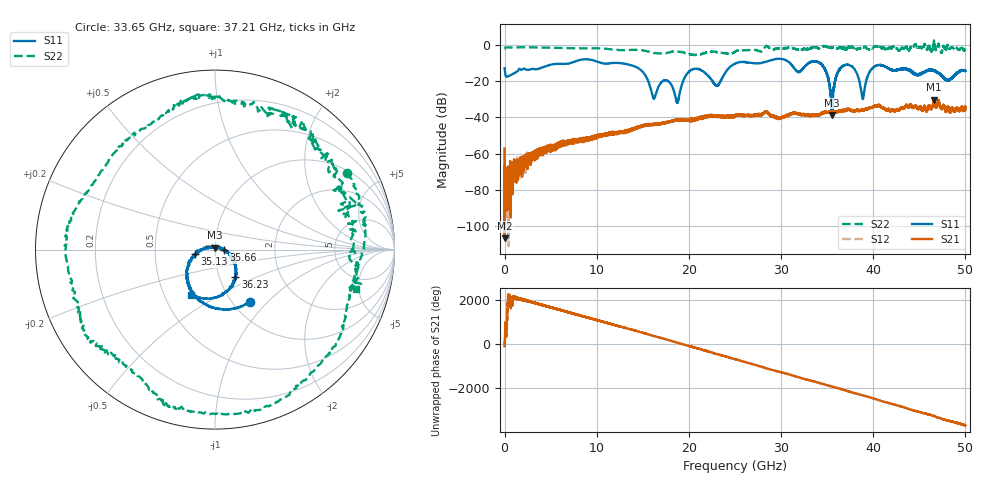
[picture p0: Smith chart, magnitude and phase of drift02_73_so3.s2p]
!Created with skrf (http://scikit-rf.org).
# Hz S RI R 50.0
!freq ReS11 ImS11 ReS21 ImS21 ReS12 ImS12 ReS22 ImS22
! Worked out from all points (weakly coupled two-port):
!   10001 points, 300 kHz to 50 GHz, reference 50 ohm
!   highest |S21| = -30.15 dB at 46.63 GHz (marker M1); lowest = -106.7 dB at 10.3 MHz (marker M2)
!   lowest |S11| = -38.7 dB at 35.49 GHz (marker M3), VSWR 1.02, Z = 49.9 + j1.15 ohm
!   |S11| at or under -10 dB: start of sweep to 7.179 GHz; 12.36 GHz to 25.17 GHz (12.81 GHz wide, 68.3 % of centre); 34.22 GHz to end of sweep (the widest 3 of 15)
!   |S22| runs from -5.7 to 2.4 dB; largest |S21 - S12| = 0.004
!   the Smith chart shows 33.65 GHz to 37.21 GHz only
!   S11 on the Smith chart (normalised r, x): 33.65 GHz: 1.19, -0.80; 35.13 GHz: 0.80, -0.04; 35.66 GHz: 1.10, -0.01; 36.23 GHz: 1.19, -0.38; 37.21 GHz: 0.68, -0.37
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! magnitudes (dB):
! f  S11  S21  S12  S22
! 300 kHz  -12.9  -57.1  -64.0  -2.0
! 10.3 MHz  -13.5  -106.7  -72.7  -2.1
! 285.3 MHz  -17.5  -75.6  -70.2  -1.4
! 8.335 GHz  -8.2  -52.6  -52.5  -1.9
! 14.03 GHz  -11.8  -46.0  -46.3  -2.8
! 16.67 GHz  -23.4  -43.9  -43.6  -4.7
! 18.74 GHz  -31.9  -41.5  -41.5  -3.7
! 20.23 GHz  -13.9  -41.6  -41.9  -5.4
! 23.04 GHz  -22.5  -39.2  -39.5  -4.1
! 25 GHz  -10.4  -39.5  -39.1  -3.9
! 33.34 GHz  -9.3  -38.4  -38.9  -1.5
! 33.65 GHz  -9.1  -38.7  -38.6  -1.4
! 35.13 GHz  -18.8  -37.1  -37.3  -1.7
! 35.49 GHz  -38.7  -36.7  -36.8  -1.7
! 35.66 GHz  -26.1  -36.8  -36.7  -1.6
! 36.23 GHz  -14.4  -36.5  -36.4  -1.9
! 37.21 GHz  -11.0  -35.8  -35.6  -1.7
! 38.86 GHz  -29.9  -36.0  -36.1  -1.4
! 39.95 GHz  -12.7  -34.2  -34.5  -2.0
! 41.67 GHz  -13.0  -35.5  -35.8  -1.9
! 46.63 GHz  -14.2  -30.1  -30.5  2.0
! 50 GHz  -14.5  -34.6  -35.1  -2.7
